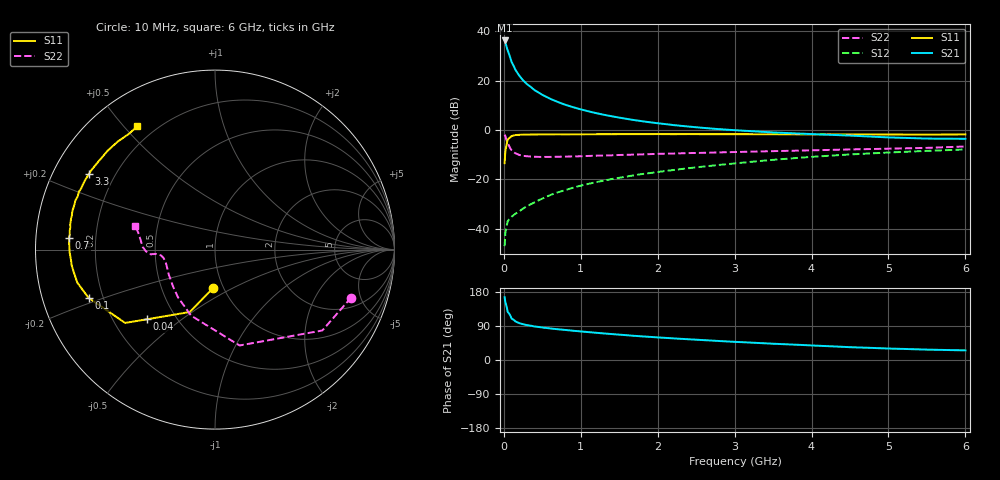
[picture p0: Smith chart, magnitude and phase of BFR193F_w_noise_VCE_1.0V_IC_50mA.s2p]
! (c) 2017  Infineon Technologies AG, Munich
! Infineon Technologies  Discrete & RF Semiconductors
! BFR193F
! VCE =  1.0 V,  IC =  50 mA
! Common Emitter S-Parameters:  Jan 2017
# GHz  S  MA  R  50
!  f  S11  S21  S12  S22
! GHz  MAG  ANG  MAG  ANG  MAG  ANG  MAG  ANG
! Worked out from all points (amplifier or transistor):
!   77 points, 10 MHz to 6 GHz, reference 50 ohm
!   highest |S21| = 36.3 dB at 10 MHz (marker M1)
!   |S21| within 3 dB of that: start of sweep to 39.64 MHz
!   unconditionally stable (mu >= 1): 465.8 MHz to 3.262 GHz
!   at 130 MHz: K = 0.59, MSG = 30.2 dB, |S12| = -34.5 dB
!   at 2.2 GHz: K = 1.07, MAG = 7.5 dB, |S12| = -16.3 dB
!   at 6 GHz: K = 0.96, MSG = 2.2 dB, |S12| = -7.9 dB
!   lowest NFmin = 1.48 dB at 450 MHz
!   S11 on the Smith chart (normalised r, x): 10 MHz: 0.90, -0.40; 40 MHz: 0.34, -0.38; 100 MHz: 0.15, -0.18; 700 MHz: 0.10, +0.04; 3.3 GHz: 0.11, +0.27; 6 GHz: 0.13, +0.55
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0.01  0.2121 -92.3  65.27 165.5  0.0044 77.9  0.8044 -19.4
0.02  0.3751 -112.0  59.6 152.1  0.0082 67.6  0.7488 -37.0
0.04  0.5437 -134.4  45.99 137.5  0.012 53.5  0.5839 -60.1
0.05  0.6462 -140.8  40.84 126.9  0.0141 49.5  0.5515 -75.6
0.1  0.7538 -159.1  24.05 109.4  0.0173 44.4  0.3914 -109.8
0.15  0.7888 -166.5  16.66 101.9  0.02 46.1  0.3364 -127.8
0.2  0.7966 -170.8  12.64 97.3  0.0223 50.6  0.3117 -138.4
0.25  0.8034 -173.8  10.16 94.4  0.0254 53.1  0.298 -146.3
0.3  0.8043 -175.8  8.514 92.1  0.0284 56.6  0.2933 -151.2
0.4  0.81 -178.9  6.404 88.4  0.034 62.3  0.2859 -158.4
0.5  0.8119 179.1  5.144 85.8  0.0406 65.4  0.2835 -162.7
0.6  0.8135 177.2  4.305 83.3  0.0476 67.3  0.2841 -165.8
0.7  0.816 175.3  3.697 81.1  0.0542 68.8  0.2862 -167.7
0.9  0.8163 172.5  2.895 77.2  0.0675 70.5  0.2906 -170.8
1.1  0.8192 170.0  2.384 73.6  0.0807 71.5  0.2971 -172.5
1.5  0.8219 165.7  1.78 66.9  0.1071 72.2  0.3107 -174.6
2.1  0.8224 159.8  1.313 58.4  0.1472 71.4  0.33 -175.7
3.1  0.8199 150.9  0.969 47.0  0.2169 68.5  0.3596 -175.9
3.3  0.8189 149.0  0.929 45.0  0.2323 67.5  0.3657 -176.2
4.1  0.8129 141.3  0.813 37.5  0.2911 62.9  0.3893 -179.4
5.1  0.808 130.9  0.698 29.7  0.3539 55.8  0.4202 172.0
6  0.8131 122.1  0.661 25.4  0.4018 49.8  0.4627 163.5
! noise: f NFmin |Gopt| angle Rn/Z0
0.45  1.48  0.47  -179  0.07
0.9  1.56  0.48  -178  0.08
1.9  2.14  0.6  -163  0.09
2.4  2.45  0.62  -155  0.15
